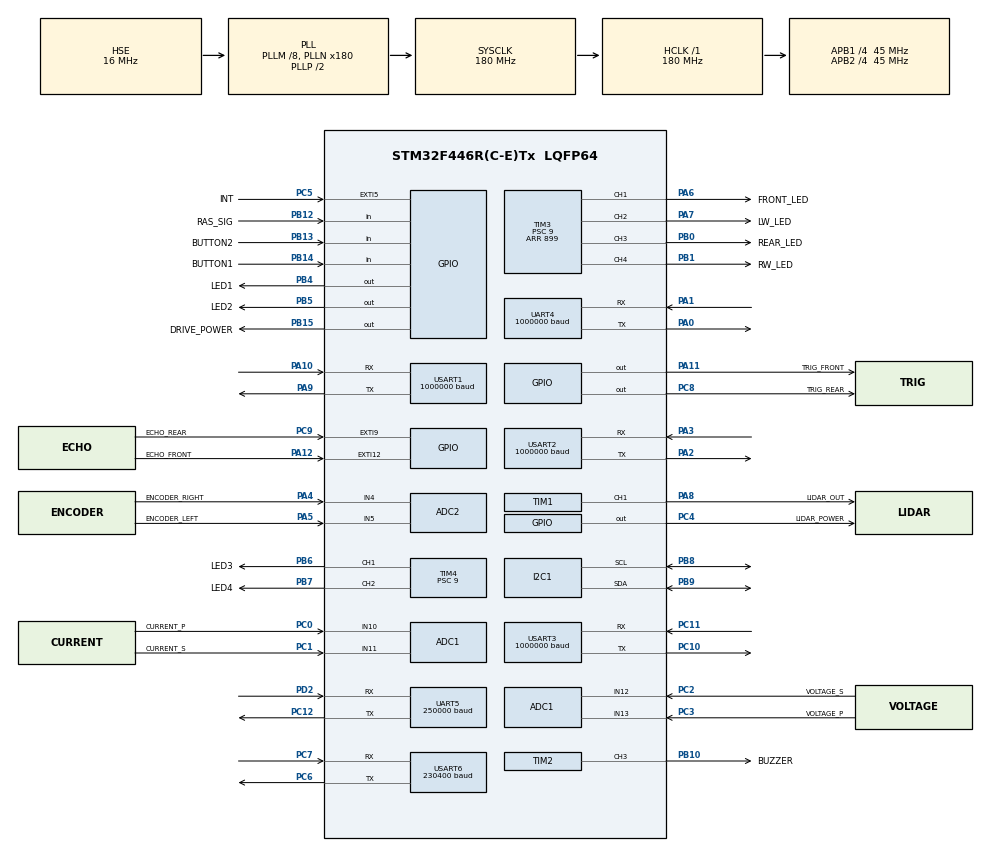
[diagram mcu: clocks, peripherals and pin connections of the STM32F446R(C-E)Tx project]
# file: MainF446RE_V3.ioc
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ADC1.Channel-0\#ChannelRegularConversion=ADC_CHANNEL_12
ADC1.Channel-1\#ChannelRegularConversion=ADC_CHANNEL_13
ADC1.Channel-5\#ChannelRegularConversion=ADC_CHANNEL_11
ADC1.Channel-6\#ChannelRegularConversion=ADC_CHANNEL_10
ADC1.Channel-7\#ChannelRegularConversion=ADC_CHANNEL_TEMPSENSOR
ADC1.ClockPrescaler=ADC_CLOCK_SYNC_PCLK_DIV2
ADC1.ContinuousConvMode=ENABLE
ADC1.DMAContinuousRequests=ENABLE
ADC1.DiscontinuousConvMode=DISABLE
ADC1.NbrOfConversion=5
ADC1.NbrOfConversionFlag=1
ADC1.Rank-0\#ChannelRegularConversion=1
ADC1.Rank-1\#ChannelRegularConversion=2
ADC1.Rank-5\#ChannelRegularConversion=3
ADC1.Rank-6\#ChannelRegularConversion=4
ADC1.Rank-7\#ChannelRegularConversion=5
ADC1.SamplingTime-0\#ChannelRegularConversion=ADC_SAMPLETIME_144CYCLES
ADC1.SamplingTime-1\#ChannelRegularConversion=ADC_SAMPLETIME_144CYCLES
ADC1.SamplingTime-5\#ChannelRegularConversion=ADC_SAMPLETIME_144CYCLES
ADC1.SamplingTime-6\#ChannelRegularConversion=ADC_SAMPLETIME_144CYCLES
ADC1.SamplingTime-7\#ChannelRegularConversion=ADC_SAMPLETIME_480CYCLES
ADC1.ScanConvMode=ENABLE
ADC1.master=1
ADC2.Channel-0\#ChannelRegularConversion=ADC_CHANNEL_5
ADC2.Channel-1\#ChannelRegularConversion=ADC_CHANNEL_4
ADC2.ContinuousConvMode=ENABLE
ADC2.DMAContinuousRequests=ENABLE
ADC2.NbrOfConversion=2
ADC2.NbrOfConversionFlag=1
ADC2.Rank-0\#ChannelRegularConversion=1
ADC2.Rank-1\#ChannelRegularConversion=2
ADC2.SamplingTime-0\#ChannelRegularConversion=ADC_SAMPLETIME_144CYCLES
ADC2.SamplingTime-1\#ChannelRegularConversion=ADC_SAMPLETIME_144CYCLES
ADC2.ScanConvMode=ENABLE
Dma.ADC1.0.Direction=DMA_PERIPH_TO_MEMORY
Dma.ADC1.0.FIFOMode=DMA_FIFOMODE_DISABLE
Dma.ADC1.0.Instance=DMA2_Stream0
Dma.ADC1.0.MemDataAlignment=DMA_MDATAALIGN_HALFWORD
Dma.ADC1.0.MemInc=DMA_MINC_ENABLE
Dma.ADC1.0.Mode=DMA_CIRCULAR
Dma.ADC1.0.PeriphDataAlignment=DMA_PDATAALIGN_HALFWORD
Dma.ADC1.0.PeriphInc=DMA_PINC_DISABLE
Dma.ADC1.0.Priority=DMA_PRIORITY_LOW
Dma.ADC2.10.Direction=DMA_PERIPH_TO_MEMORY
Dma.ADC2.10.FIFOMode=DMA_FIFOMODE_DISABLE
Dma.ADC2.10.Instance=DMA2_Stream2
Dma.ADC2.10.MemDataAlignment=DMA_MDATAALIGN_HALFWORD
Dma.ADC2.10.MemInc=DMA_MINC_ENABLE
Dma.ADC2.10.Mode=DMA_CIRCULAR
Dma.ADC2.10.PeriphDataAlignment=DMA_PDATAALIGN_HALFWORD
Dma.ADC2.10.PeriphInc=DMA_PINC_DISABLE
Dma.ADC2.10.Priority=DMA_PRIORITY_LOW
Dma.Request0=ADC1
Dma.Request1=USART2_RX
Dma.Request10=ADC2
Dma.Request11=USART3_TX
Dma.Request12=USART1_RX
Dma.Request2=USART2_TX
Dma.Request3=UART4_RX
Dma.Request4=UART4_TX
Dma.Request5=UART5_RX
Dma.Request6=UART5_TX
Dma.Request7=USART3_RX
Dma.Request8=USART1_TX
Dma.Request9=USART6_RX
Dma.UART4_RX.3.Direction=DMA_PERIPH_TO_MEMORY
Dma.UART4_RX.3.FIFOMode=DMA_FIFOMODE_DISABLE
Dma.UART4_RX.3.Instance=DMA1_Stream2
Dma.UART4_RX.3.MemDataAlignment=DMA_MDATAALIGN_BYTE
Dma.UART4_RX.3.MemInc=DMA_MINC_ENABLE
Dma.UART4_RX.3.Mode=DMA_CIRCULAR
Dma.UART4_RX.3.PeriphDataAlignment=DMA_PDATAALIGN_BYTE
Dma.UART4_RX.3.PeriphInc=DMA_PINC_DISABLE
Dma.UART4_RX.3.Priority=DMA_PRIORITY_LOW
Dma.UART4_TX.4.Direction=DMA_MEMORY_TO_PERIPH
Dma.UART4_TX.4.FIFOMode=DMA_FIFOMODE_DISABLE
Dma.UART4_TX.4.Instance=DMA1_Stream4
Dma.UART4_TX.4.MemDataAlignment=DMA_MDATAALIGN_BYTE
Dma.UART4_TX.4.MemInc=DMA_MINC_ENABLE
Dma.UART4_TX.4.Mode=DMA_NORMAL
Dma.UART4_TX.4.PeriphDataAlignment=DMA_PDATAALIGN_BYTE
Dma.UART4_TX.4.PeriphInc=DMA_PINC_DISABLE
Dma.UART4_TX.4.Priority=DMA_PRIORITY_LOW
Dma.UART5_RX.5.Direction=DMA_PERIPH_TO_MEMORY
Dma.UART5_RX.5.FIFOMode=DMA_FIFOMODE_DISABLE
Dma.UART5_RX.5.Instance=DMA1_Stream0
Dma.UART5_RX.5.MemDataAlignment=DMA_MDATAALIGN_BYTE
Dma.UART5_RX.5.MemInc=DMA_MINC_ENABLE
Dma.UART5_RX.5.Mode=DMA_CIRCULAR
Dma.UART5_RX.5.PeriphDataAlignment=DMA_PDATAALIGN_BYTE
Dma.UART5_RX.5.PeriphInc=DMA_PINC_DISABLE
Dma.UART5_RX.5.Priority=DMA_PRIORITY_LOW
Dma.UART5_TX.6.Direction=DMA_MEMORY_TO_PERIPH
Dma.UART5_TX.6.FIFOMode=DMA_FIFOMODE_DISABLE
Dma.UART5_TX.6.Instance=DMA1_Stream7
Dma.UART5_TX.6.MemDataAlignment=DMA_MDATAALIGN_BYTE
Dma.UART5_TX.6.MemInc=DMA_MINC_ENABLE
Dma.UART5_TX.6.Mode=DMA_NORMAL
Dma.UART5_TX.6.PeriphDataAlignment=DMA_PDATAALIGN_BYTE
Dma.UART5_TX.6.PeriphInc=DMA_PINC_DISABLE
Dma.UART5_TX.6.Priority=DMA_PRIORITY_LOW
Dma.USART1_RX.12.Direction=DMA_PERIPH_TO_MEMORY
Dma.USART1_RX.12.FIFOMode=DMA_FIFOMODE_DISABLE
Dma.USART1_RX.12.Instance=DMA2_Stream5
Dma.USART1_RX.12.MemDataAlignment=DMA_MDATAALIGN_BYTE
Dma.USART1_RX.12.MemInc=DMA_MINC_ENABLE
Dma.USART1_RX.12.Mode=DMA_CIRCULAR
Dma.USART1_RX.12.PeriphDataAlignment=DMA_PDATAALIGN_BYTE
Dma.USART1_RX.12.PeriphInc=DMA_PINC_DISABLE
Dma.USART1_RX.12.Priority=DMA_PRIORITY_LOW
Dma.USART1_TX.8.Direction=DMA_MEMORY_TO_PERIPH
Dma.USART1_TX.8.FIFOMode=DMA_FIFOMODE_DISABLE
Dma.USART1_TX.8.Instance=DMA2_Stream7
Dma.USART1_TX.8.MemDataAlignment=DMA_MDATAALIGN_BYTE
Dma.USART1_TX.8.MemInc=DMA_MINC_ENABLE
Dma.USART1_TX.8.Mode=DMA_NORMAL
Dma.USART1_TX.8.PeriphDataAlignment=DMA_PDATAALIGN_BYTE
Dma.USART1_TX.8.PeriphInc=DMA_PINC_DISABLE
Dma.USART1_TX.8.Priority=DMA_PRIORITY_LOW
Dma.USART2_RX.1.Direction=DMA_PERIPH_TO_MEMORY
Dma.USART2_RX.1.FIFOMode=DMA_FIFOMODE_DISABLE
Dma.USART2_RX.1.Instance=DMA1_Stream5
Dma.USART2_RX.1.MemDataAlignment=DMA_MDATAALIGN_BYTE
Dma.USART2_RX.1.MemInc=DMA_MINC_ENABLE
Dma.USART2_RX.1.Mode=DMA_CIRCULAR
Dma.USART2_RX.1.PeriphDataAlignment=DMA_PDATAALIGN_BYTE
Dma.USART2_RX.1.PeriphInc=DMA_PINC_DISABLE
Dma.USART2_RX.1.Priority=DMA_PRIORITY_LOW
Dma.USART2_TX.2.Direction=DMA_MEMORY_TO_PERIPH
Dma.USART2_TX.2.FIFOMode=DMA_FIFOMODE_DISABLE
Dma.USART2_TX.2.Instance=DMA1_Stream6
Dma.USART2_TX.2.MemDataAlignment=DMA_MDATAALIGN_BYTE
Dma.USART2_TX.2.MemInc=DMA_MINC_ENABLE
Dma.USART2_TX.2.Mode=DMA_NORMAL
Dma.USART2_TX.2.PeriphDataAlignment=DMA_PDATAALIGN_BYTE
Dma.USART2_TX.2.PeriphInc=DMA_PINC_DISABLE
Dma.USART2_TX.2.Priority=DMA_PRIORITY_LOW
Dma.USART3_RX.7.Direction=DMA_PERIPH_TO_MEMORY
Dma.USART3_RX.7.FIFOMode=DMA_FIFOMODE_DISABLE
Dma.USART3_RX.7.Instance=DMA1_Stream1
Dma.USART3_RX.7.MemDataAlignment=DMA_MDATAALIGN_BYTE
Dma.USART3_RX.7.MemInc=DMA_MINC_ENABLE
Dma.USART3_RX.7.Mode=DMA_CIRCULAR
Dma.USART3_RX.7.PeriphDataAlignment=DMA_PDATAALIGN_BYTE
Dma.USART3_RX.7.PeriphInc=DMA_PINC_DISABLE
Dma.USART3_RX.7.Priority=DMA_PRIORITY_LOW
Dma.USART3_TX.11.Direction=DMA_MEMORY_TO_PERIPH
Dma.USART3_TX.11.FIFOMode=DMA_FIFOMODE_DISABLE
Dma.USART3_TX.11.Instance=DMA1_Stream3
Dma.USART3_TX.11.MemDataAlignment=DMA_MDATAALIGN_BYTE
Dma.USART3_TX.11.MemInc=DMA_MINC_ENABLE
Dma.USART3_TX.11.Mode=DMA_NORMAL
Dma.USART3_TX.11.PeriphDataAlignment=DMA_PDATAALIGN_BYTE
Dma.USART3_TX.11.PeriphInc=DMA_PINC_DISABLE
Dma.USART3_TX.11.Priority=DMA_PRIORITY_LOW
Dma.USART6_RX.9.Direction=DMA_PERIPH_TO_MEMORY
Dma.USART6_RX.9.FIFOMode=DMA_FIFOMODE_DISABLE
Dma.USART6_RX.9.Instance=DMA2_Stream1
Dma.USART6_RX.9.MemDataAlignment=DMA_MDATAALIGN_BYTE
Dma.USART6_RX.9.MemInc=DMA_MINC_ENABLE
Dma.USART6_RX.9.Mode=DMA_CIRCULAR
Dma.USART6_RX.9.PeriphDataAlignment=DMA_PDATAALIGN_BYTE
Dma.USART6_RX.9.PeriphInc=DMA_PINC_DISABLE
Dma.USART6_RX.9.Priority=DMA_PRIORITY_LOW
I2C1.I2C_Mode=I2C_Fast
Mcu.Family=STM32F4
Mcu.Name=STM32F446R(C-E)Tx
Mcu.Package=LQFP64
NVIC.DMA1_Stream0_IRQn=true\:0\:0\:false\:false\:true\:false\:true\:true
NVIC.DMA1_Stream1_IRQn=true\:0\:0\:false\:false\:true\:false\:true\:true
NVIC.DMA1_Stream2_IRQn=true\:0\:0\:false\:false\:true\:false\:true\:true
NVIC.DMA1_Stream3_IRQn=true\:0\:0\:false\:false\:true\:false\:true\:true
NVIC.DMA1_Stream4_IRQn=true\:0\:0\:false\:false\:true\:false\:true\:true
NVIC.DMA1_Stream5_IRQn=true\:0\:0\:false\:false\:true\:false\:true\:true
NVIC.DMA1_Stream6_IRQn=true\:0\:0\:false\:false\:true\:false\:true\:true
NVIC.DMA1_Stream7_IRQn=true\:0\:0\:false\:false\:true\:false\:true\:true
NVIC.DMA2_Stream0_IRQn=true\:0\:0\:false\:false\:true\:false\:true\:true
NVIC.DMA2_Stream1_IRQn=true\:0\:0\:false\:false\:true\:false\:true\:true
NVIC.DMA2_Stream2_IRQn=true\:0\:0\:false\:false\:true\:false\:true\:true
NVIC.DMA2_Stream5_IRQn=true\:0\:0\:false\:false\:true\:false\:true\:true
NVIC.DMA2_Stream7_IRQn=true\:0\:0\:false\:false\:true\:false\:true\:true
NVIC.EXTI15_10_IRQn=true\:5\:0\:false\:false\:true\:true\:true\:true
NVIC.EXTI9_5_IRQn=true\:5\:0\:false\:false\:true\:true\:true\:true
NVIC.I2C1_ER_IRQn=true\:0\:0\:false\:false\:true\:true\:true\:true
NVIC.I2C1_EV_IRQn=true\:0\:0\:false\:false\:true\:true\:true\:true
NVIC.PriorityGroup=NVIC_PRIORITYGROUP_4
PA0-WKUP.Mode=Asynchronous
PA0-WKUP.Signal=UART4_TX
PA1.Mode=Asynchronous
PA1.Signal=UART4_RX
PA10.Mode=Asynchronous
PA10.Signal=USART1_RX
PA11.GPIO_Label=TRIG_FRONT
PA11.Signal=GPIO_Output
PA12.GPIO_Label=ECHO_FRONT
PA12.GPIO_ModeDefaultEXTI=GPIO_MODE_IT_RISING_FALLING
PA12.Signal=GPXTI12
PA13.Mode=Serial_Wire
PA13.Signal=SYS_JTMS-SWDIO
PA14.Mode=Serial_Wire
PA14.Signal=SYS_JTCK-SWCLK
PA2.Mode=Asynchronous
PA2.Signal=USART2_TX
PA3.Mode=Asynchronous
PA3.Signal=USART2_RX
PA4.GPIO_Label=ENCODER_RIGHT
PA4.Signal=ADCx_IN4
PA5.GPIO_Label=ENCODER_LEFT
PA5.Signal=ADCx_IN5
PA6.GPIO_Label=FRONT_LED
PA6.Signal=S_TIM3_CH1
PA7.GPIO_Label=LW_LED
PA7.Signal=S_TIM3_CH2
PA8.GPIO_Label=LIDAR_OUT
PA8.Signal=S_TIM1_CH1
PA9.Mode=Asynchronous
PA9.Signal=USART1_TX
PB0.GPIO_Label=REAR_LED
PB0.Signal=S_TIM3_CH3
PB1.GPIO_Label=RW_LED
PB1.Signal=S_TIM3_CH4
PB10.GPIO_Label=BUZZER
PB10.Signal=S_TIM2_CH3
PB12.GPIO_Label=RAS_SIG
PB12.Signal=GPIO_Input
PB13.GPIO_Label=BUTTON2
PB13.Signal=GPIO_Input
PB14.GPIO_Label=BUTTON1
PB14.Signal=GPIO_Input
PB15.GPIO_Label=DRIVE_POWER
PB15.Signal=GPIO_Output
PB4.GPIO_Label=LED1
PB4.Signal=GPIO_Output
PB5.GPIO_Label=LED2
PB5.Signal=GPIO_Output
PB6.GPIO_Label=LED3
PB6.Signal=S_TIM4_CH1
PB7.GPIO_Label=LED4
PB7.Signal=S_TIM4_CH2
PB8.Mode=I2C
PB8.Signal=I2C1_SCL
PB9.Mode=I2C
PB9.Signal=I2C1_SDA
PC0.GPIO_Label=CURRENT_P
PC0.Signal=ADCx_IN10
PC1.GPIO_Label=CURRENT_S
PC1.Signal=ADCx_IN11
PC10.Mode=Asynchronous
PC10.Signal=USART3_TX
PC11.Mode=Asynchronous
PC11.Signal=USART3_RX
PC12.Mode=Asynchronous
PC12.Signal=UART5_TX
PC2.GPIO_Label=VOLTAGE_S
PC2.Signal=ADCx_IN12
PC3.GPIO_Label=VOLTAGE_P
PC3.Signal=ADCx_IN13
PC4.GPIO_Label=LIDAR_POWER
PC4.Signal=GPIO_Output
PC5.GPIO_Label=INT
PC5.GPIO_ModeDefaultEXTI=GPIO_MODE_IT_RISING
PC5.GPIO_PuPd=GPIO_PULLDOWN
PC5.Signal=GPXTI5
PC6.Mode=Asynchronous
PC6.Signal=USART6_TX
PC7.Mode=Asynchronous
PC7.Signal=USART6_RX
PC8.GPIO_Label=TRIG_REAR
PC8.Signal=GPIO_Output
PC9.GPIO_Label=ECHO_REAR
PC9.GPIO_ModeDefaultEXTI=GPIO_MODE_IT_RISING_FALLING
PC9.Signal=GPXTI9
PD2.Mode=Asynchronous
PD2.Signal=UART5_RX
PH0-OSC_IN.Mode=HSE-External-Oscillator
PH0-OSC_IN.Signal=RCC_OSC_IN
PH1-OSC_OUT.Mode=HSE-External-Oscillator
PH1-OSC_OUT.Signal=RCC_OSC_OUT
ProjectManager.HeapSize=0x200
ProjectManager.StackSize=0x400
ProjectManager.TargetToolchain=Makefile
RCC.AHBFreq_Value=180000000
RCC.APB1CLKDivider=RCC_HCLK_DIV4
RCC.APB1Freq_Value=45000000
RCC.APB1TimFreq_Value=90000000
RCC.APB2CLKDivider=RCC_HCLK_DIV4
RCC.APB2Freq_Value=45000000
RCC.APB2TimFreq_Value=90000000
RCC.CortexFreq_Value=180000000
RCC.HCLKFreq_Value=180000000
RCC.HSE_VALUE=16000000
RCC.PLLM=8
RCC.PLLN=180
RCC.PLLSourceVirtual=RCC_PLLSOURCE_HSE
RCC.SYSCLKFreq_VALUE=180000000
RCC.SYSCLKSource=RCC_SYSCLKSOURCE_PLLCLK
RCC.USBFreq_Value=180000000
RCC.VCOOutputFreq_Value=360000000
SH.ADCx_IN10.0=ADC1_IN10,IN10
SH.ADCx_IN11.0=ADC1_IN11,IN11
SH.ADCx_IN12.0=ADC1_IN12,IN12
SH.ADCx_IN13.0=ADC1_IN13,IN13
SH.ADCx_IN4.0=ADC2_IN4,IN4
SH.ADCx_IN5.0=ADC2_IN5,IN5
SH.S_TIM1_CH1.0=TIM1_CH1,PWM Generation1 CH1
SH.S_TIM2_CH3.0=TIM2_CH3,PWM Generation3 CH3
SH.S_TIM3_CH1.0=TIM3_CH1,PWM Generation1 CH1
SH.S_TIM3_CH2.0=TIM3_CH2,PWM Generation2 CH2
SH.S_TIM3_CH3.0=TIM3_CH3,PWM Generation3 CH3
SH.S_TIM3_CH4.0=TIM3_CH4,PWM Generation4 CH4
SH.S_TIM4_CH1.0=TIM4_CH1,PWM Generation1 CH1
SH.S_TIM4_CH2.0=TIM4_CH2,PWM Generation2 CH2
TIM1.Channel-PWM\ Generation1\ CH1=TIM_CHANNEL_1
TIM2.Channel-PWM\ Generation3\ CH3=TIM_CHANNEL_3
TIM3.Channel-PWM\ Generation1\ CH1=TIM_CHANNEL_1
TIM3.Channel-PWM\ Generation2\ CH2=TIM_CHANNEL_2
TIM3.Channel-PWM\ Generation3\ CH3=TIM_CHANNEL_3
TIM3.Channel-PWM\ Generation4\ CH4=TIM_CHANNEL_4
TIM3.Period=899
TIM3.Prescaler=9
TIM4.Channel-PWM\ Generation1\ CH1=TIM_CHANNEL_1
TIM4.Channel-PWM\ Generation2\ CH2=TIM_CHANNEL_2
TIM4.Period=899
TIM4.Prescaler=9
UART4.BaudRate=1000000
UART4.VirtualMode=Asynchronous
UART5.BaudRate=250000
UART5.VirtualMode=Asynchronous
USART1.BaudRate=1000000
USART1.VirtualMode=VM_ASYNC
USART2.BaudRate=1000000
USART2.VirtualMode=VM_ASYNC
USART3.BaudRate=1000000
USART3.Mode=MODE_TX_RX
USART3.VirtualMode=VM_ASYNC
USART6.BaudRate=230400
USART6.VirtualMode=VM_ASYNC
VP_ADC1_TempSens_Input.Mode=IN-TempSens
board=custom

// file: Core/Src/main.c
/* USER CODE BEGIN Header */
/**
 ******************************************************************************
 * @file           : main.c
 * @brief          : Main program body
 ******************************************************************************
 * @attention
 *
 * Copyright (c) 2025 STMicroelectronics.
 * All rights reserved.
 *
 * This software is licensed under terms that can be found in the LICENSE file
 * in the root directory of this software component.
 * If no LICENSE file comes with this software, it is provided AS-IS.
 *
 ******************************************************************************
 */
/* USER CODE END Header */
#include "main.h"
#include "adc.h"
#include "dma.h"
#include "i2c.h"
#include "tim.h"
#include "usart.h"
#include "gpio.h"

/* USER CODE BEGIN Includes */
#include "app.h"
/* USER CODE END Includes */

void SystemClock_Config(void);

/* USER CODE BEGIN 0 */
// printf の出力 (UART5)。Setup の間は従来どおりブロッキングで送る (起動ログを取りこぼさない)。
// メインループに入ったあと (Log_EnableNonBlocking) は、リングバッファに積むだけにして
// Log_Pump() が送れる分だけ1バイトずつ送り出す。ブロッキングで送ると最大10ms 止まり、
// その間ハートビートのポーリング・制御・MD への指令が止まる。溢れた分は捨てる
#define LOG_RING_SIZE 512
static uint8_t log_ring[LOG_RING_SIZE];
static volatile uint16_t log_head = 0;
static volatile uint16_t log_tail = 0;
static volatile uint8_t log_nonblocking = 0;

void Log_EnableNonBlocking(void) { log_nonblocking = 1; }

void Log_Pump(void) {
  if (log_head == log_tail) return;
  if (!(huart5.Instance->SR & USART_SR_TXE)) return;
  huart5.Instance->DR = log_ring[log_tail];
  log_tail = (uint16_t)((log_tail + 1) % LOG_RING_SIZE);
}

int _write(int file, char* ptr, int len) {
  (void)file;
  if (!log_nonblocking) {
    HAL_UART_Transmit(&huart5, (uint8_t*)ptr, len, 10);
    return len;
  }
  for (int i = 0; i < len; i++) {
    uint16_t next = (uint16_t)((log_head + 1) % LOG_RING_SIZE);
    if (next == log_tail) break;  // 満杯 (残りは捨てる)
    log_ring[log_head] = (uint8_t)ptr[i];
    log_head = next;
  }
  return len;
}

/* USER CODE END 0 */

int main(void)
{

  /* MCU Configuration--------------------------------------------------------*/

  /* Reset of all peripherals, Initializes the Flash interface and the Systick. */
  HAL_Init();

  /* Configure the system clock */
  SystemClock_Config();

  /* Initialize all configured peripherals */
  MX_GPIO_Init();
  MX_DMA_Init();
  MX_UART4_Init();
  MX_UART5_Init();
  MX_USART1_UART_Init();
  MX_USART2_UART_Init();
  MX_USART3_UART_Init();
  MX_USART6_UART_Init();
  MX_ADC1_Init();
  MX_I2C1_Init();
  MX_TIM3_Init();
  MX_TIM4_Init();
  MX_TIM1_Init();
  MX_TIM2_Init();
  MX_ADC2_Init();
  /* USER CODE BEGIN 2 */
  Setup();
  MainApp();

  /* USER CODE END 2 */

  /* Infinite loop */
  while (1) {

  }
}

void SystemClock_Config(void)
{
  RCC_OscInitTypeDef RCC_OscInitStruct = {0};
  RCC_ClkInitTypeDef RCC_ClkInitStruct = {0};

  /** Configure the main internal regulator output voltage
  */
  __HAL_RCC_PWR_CLK_ENABLE();
  __HAL_PWR_VOLTAGESCALING_CONFIG(PWR_REGULATOR_VOLTAGE_SCALE1);

  /** Initializes the RCC Oscillators according to the specified parameters
  * in the RCC_OscInitTypeDef structure.
  */
  RCC_OscInitStruct.OscillatorType = RCC_OSCILLATORTYPE_HSE;
  RCC_OscInitStruct.HSEState = RCC_HSE_ON;
  RCC_OscInitStruct.PLL.PLLState = RCC_PLL_ON;
  RCC_OscInitStruct.PLL.PLLSource = RCC_PLLSOURCE_HSE;
  RCC_OscInitStruct.PLL.PLLM = 8;
  RCC_OscInitStruct.PLL.PLLN = 180;
  RCC_OscInitStruct.PLL.PLLP = RCC_PLLP_DIV2;
  RCC_OscInitStruct.PLL.PLLQ = 2;
  RCC_OscInitStruct.PLL.PLLR = 2;
  if (HAL_RCC_OscConfig(&RCC_OscInitStruct) != HAL_OK)
  {
    Error_Handler();
  }

  /** Activate the Over-Drive mode
  */
  if (HAL_PWREx_EnableOverDrive() != HAL_OK)
  {
    Error_Handler();
  }

  /** Initializes the CPU, AHB and APB buses clocks
  */
  RCC_ClkInitStruct.ClockType = RCC_CLOCKTYPE_HCLK|RCC_CLOCKTYPE_SYSCLK
                              |RCC_CLOCKTYPE_PCLK1|RCC_CLOCKTYPE_PCLK2;
  RCC_ClkInitStruct.SYSCLKSource = RCC_SYSCLKSOURCE_PLLCLK;
  RCC_ClkInitStruct.AHBCLKDivider = RCC_SYSCLK_DIV1;
  RCC_ClkInitStruct.APB1CLKDivider = RCC_HCLK_DIV4;
  RCC_ClkInitStruct.APB2CLKDivider = RCC_HCLK_DIV4;

  if (HAL_RCC_ClockConfig(&RCC_ClkInitStruct, FLASH_LATENCY_5) != HAL_OK)
  {
    Error_Handler();
  }
}

void Error_Handler(void)
{
  __disable_irq();
  while (1) {
  }
}
